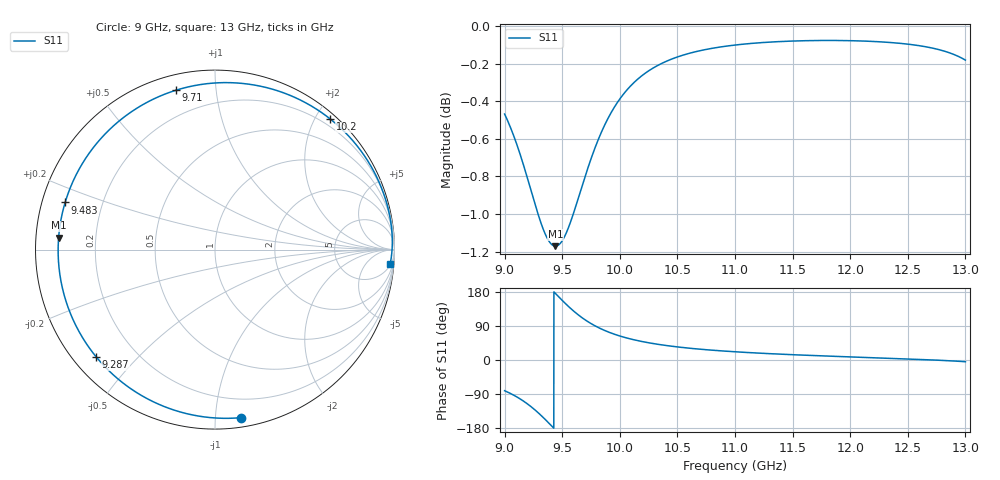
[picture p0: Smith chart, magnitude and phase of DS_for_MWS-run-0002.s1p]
! TOUCHSTONE file generated by CST DESIGN STUDIO
! Date and time: Tue Feb  4 16:05:08 2025
! Project name: C:\Work\MatlabApps\UnitCellOptimizationMatlab\CST\unitcell.cst
! Tree item: Tasks\Sweep1\SPara1\S-Parameters
! Header version: 2024
! Port assignment regex: !\s*Touchstone port\s*([0-9]+)\s*=\s*(CST MWS port|CST DES external port|CST DES block port)\s*(.+)\s* \(\"(.*)\"\)(\s*mode\s*([0-9]+))?.*
! Touchstone port assignment:
! Touchstone port 1 = CST DES external port 1 ("")
# GHz S MA R 50
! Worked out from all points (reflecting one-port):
!   4001 points, 9 GHz to 13 GHz, reference 50 ohm
!   lowest |S11| = -1.2 dB at 9.441 GHz (marker M1), VSWR 14.85, Z = 3.37 + j1.89 ohm
!   phase of S11 starts at -81 deg and turns -283 deg over the sweep
!   S11 on the Smith chart (normalised r, x): 9 GHz: 0.06, -1.17; 9.287 GHz: 0.07, -0.38; 9.483 GHz: 0.07, +0.15; 9.71 GHz: 0.07, +0.78; 10.2 GHz: 0.09, +2.22; 13 GHz: 6, -24
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9  0.9476 -81.1
9.087  0.9336 -94.1
9.159  0.9195 -107.5
9.224  0.9054 -121.8
9.287  0.8919 -138.0
9.369  0.8782 -161.9
9.405  0.875 -173.0
9.441  0.8738 175.6
9.483  0.8753 162.5
9.5  0.8767 157.3
9.553  0.8836 141.7
9.604  0.8928 127.9
9.655  0.9031 115.5
9.71  0.9142 103.7
9.775  0.9265 91.8
9.852  0.9389 80.1
9.924  0.9484 71.2
10  0.9564 63.4
10.093  0.9641 55.5
10.197  0.9705 48.5
10.336  0.9766 41.2
10.5  0.9814 34.5
10.723  0.9856 27.8
11  0.9886 21.7
11.5  0.991 14.0
12  0.9913 8.2
12.5  0.9891 2.8
13  0.9795 -4.5
